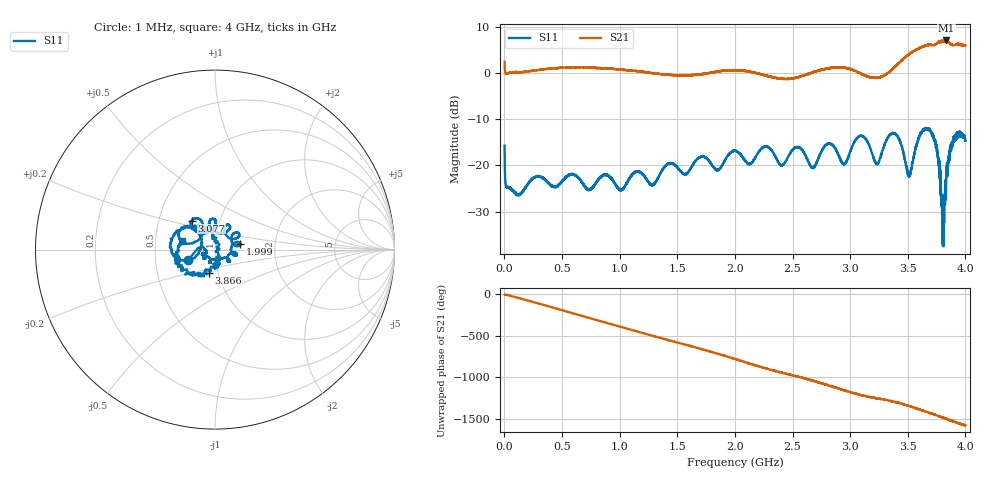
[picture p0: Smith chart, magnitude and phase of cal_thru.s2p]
!Created with skrf (http://scikit-rf.org).
# GHz S RI R 50.0
!freq ReS11 ImS11 ReS21 ImS21 ReS12 ImS12 ReS22 ImS22
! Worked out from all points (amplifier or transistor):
!   4000 points, 1 MHz to 4 GHz, reference 50 ohm
!   highest |S21| = 7.1 dB at 3.835 GHz (marker M1)
!   |S21| within 3 dB of that: 3.511 GHz to end of sweep
!   S11 on the Smith chart (normalised r, x): 1 MHz: 0.73, -0.09; 1.999 GHz: 1.33, +0.08; 3.077 GHz: 0.73, +0.25; 3.866 GHz: 0.90, -0.24; 4 GHz: 0.69, +0.05
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0.001  -0.1517 -0.0604  1.323 -0.0368  0 0  0 0
0.292  -0.072 -0.0265  -0.3347 -1.024  0 0  0 0
0.481  -0.0485 -0.0397  -1.134 0.0423  0 0  0 0
0.668  -0.0549 -0.0381  -0.2646 1.121  0 0  0 0
0.941  -0.028 -0.0629  1.111 -0.084  0 0  0 0
1.14  0.023 -0.0816  0.1499 -1.046  0 0  0 0
1.334  0.0571 -0.0458  -0.8988 -0.393  0 0  0 0
1.662  0.1118 -0.0166  0.1524 0.9449  0 0  0 0
1.849  0.0881 0.000836  1.036 0.1095  0 0  0 0
1.999  0.1411 0.0308  0.5827 -0.9071  0 0  0 0
2.001  0.1407 0.0309  0.5682 -0.9036  0 0  0 0
2.282  0.1363 0.0842  -0.9299 -0.0594  0 0  0 0
2.667  0.0265 0.091  0.7168 0.7144  0 0  0 0
2.832  -0.0124 0.1717  1.034 -0.4886  0 0  0 0
3.077  -0.1296 0.1616  -0.5948 -0.8079  0 0  0 0
3.334  -0.198 0.0604  -0.9717 0.2841  0 0  0 0
3.459  -0.101 0.1014  -0.6868 1.241  0 0  0 0
3.583  -0.172 -0.058  0.8215 1.606  0 0  0 0
3.706  -0.1943 0.1125  2 0.2488  0 0  0 0
3.835  0.0046 -0.0968  1.154 -1.934  0 0  0 0
3.866  -0.0359 -0.129  0.6206 -2  0 0  0 0
4  -0.1829 0.0324  -1.446 -1.358  0 0  0 0
